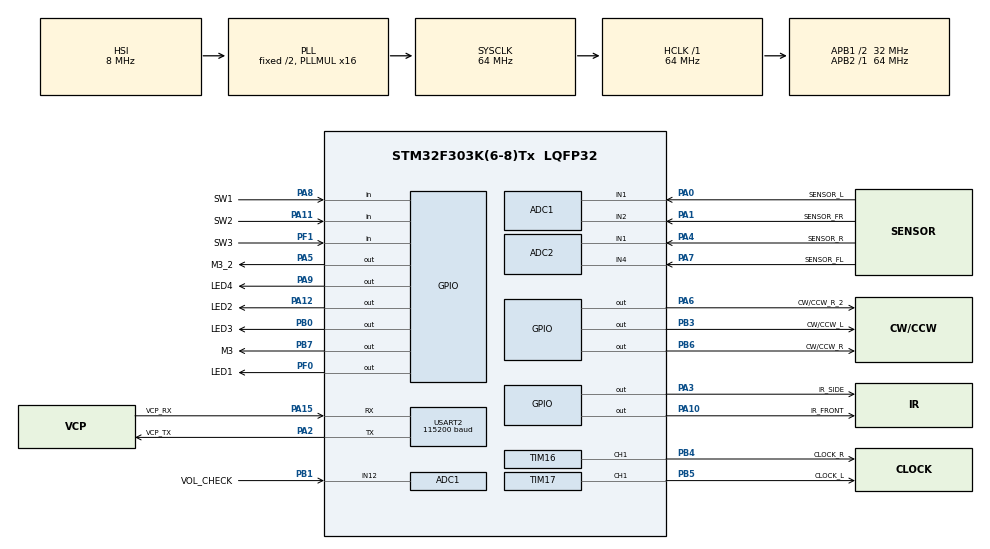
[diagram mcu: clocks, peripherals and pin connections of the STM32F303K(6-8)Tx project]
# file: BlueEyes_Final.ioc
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ADC1.Channel-0\#ChannelRegularConversion=ADC_CHANNEL_1
ADC1.Channel-1\#ChannelRegularConversion=ADC_CHANNEL_2
ADC1.Channel-2\#ChannelRegularConversion=ADC_CHANNEL_1
ADC1.Channel-5\#ChannelRegularConversion=ADC_CHANNEL_2
ADC1.DiscontinuousConvMode=ENABLE
ADC1.EnableInjectedConversion=DISABLE
ADC1.NbrOfConversion=4
ADC1.NbrOfConversionFlag=1
ADC1.Offset-0\#ChannelRegularConversion=0
ADC1.Offset-1\#ChannelRegularConversion=0
ADC1.Offset-2\#ChannelRegularConversion=0
ADC1.Offset-5\#ChannelRegularConversion=0
ADC1.OffsetNumber-0\#ChannelRegularConversion=ADC_OFFSET_NONE
ADC1.OffsetNumber-1\#ChannelRegularConversion=ADC_OFFSET_NONE
ADC1.OffsetNumber-2\#ChannelRegularConversion=ADC_OFFSET_NONE
ADC1.OffsetNumber-5\#ChannelRegularConversion=ADC_OFFSET_NONE
ADC1.Rank-0\#ChannelRegularConversion=1
ADC1.Rank-1\#ChannelRegularConversion=2
ADC1.Rank-2\#ChannelRegularConversion=3
ADC1.Rank-5\#ChannelRegularConversion=4
ADC1.SamplingTime-0\#ChannelRegularConversion=ADC_SAMPLETIME_61CYCLES_5
ADC1.SamplingTime-1\#ChannelRegularConversion=ADC_SAMPLETIME_61CYCLES_5
ADC1.SamplingTime-2\#ChannelRegularConversion=ADC_SAMPLETIME_61CYCLES_5
ADC1.SamplingTime-5\#ChannelRegularConversion=ADC_SAMPLETIME_61CYCLES_5
ADC1.SubFamily=STM32F303x8
ADC1.master=1
ADC2.Channel-0\#ChannelRegularConversion=ADC_CHANNEL_1
ADC2.Channel-1\#ChannelRegularConversion=ADC_CHANNEL_4
ADC2.Channel-2\#ChannelRegularConversion=ADC_CHANNEL_1
ADC2.Channel-4\#ChannelRegularConversion=ADC_CHANNEL_4
ADC2.DiscontinuousConvMode=ENABLE
ADC2.EnableInjectedConversion=DISABLE
ADC2.NbrOfConversion=4
ADC2.NbrOfConversionFlag=1
ADC2.Offset-0\#ChannelRegularConversion=0
ADC2.Offset-1\#ChannelRegularConversion=0
ADC2.Offset-2\#ChannelRegularConversion=0
ADC2.Offset-4\#ChannelRegularConversion=0
ADC2.OffsetNumber-0\#ChannelRegularConversion=ADC_OFFSET_NONE
ADC2.OffsetNumber-1\#ChannelRegularConversion=ADC_OFFSET_NONE
ADC2.OffsetNumber-2\#ChannelRegularConversion=ADC_OFFSET_NONE
ADC2.OffsetNumber-4\#ChannelRegularConversion=ADC_OFFSET_NONE
ADC2.Rank-0\#ChannelRegularConversion=1
ADC2.Rank-1\#ChannelRegularConversion=2
ADC2.Rank-2\#ChannelRegularConversion=3
ADC2.Rank-4\#ChannelRegularConversion=4
ADC2.SamplingTime-0\#ChannelRegularConversion=ADC_SAMPLETIME_61CYCLES_5
ADC2.SamplingTime-1\#ChannelRegularConversion=ADC_SAMPLETIME_61CYCLES_5
ADC2.SamplingTime-2\#ChannelRegularConversion=ADC_SAMPLETIME_61CYCLES_5
ADC2.SamplingTime-4\#ChannelRegularConversion=ADC_SAMPLETIME_61CYCLES_5
ADC2.SubFamily=STM32F303x8
Mcu.Family=STM32F3
Mcu.Name=STM32F303K(6-8)Tx
Mcu.Package=LQFP32
NVIC.PriorityGroup=NVIC_PRIORITYGROUP_4
NVIC.TIM1_TRG_COM_TIM17_IRQn=true\:0\:0\:false\:false\:true\:true\:true\:true
NVIC.TIM1_UP_TIM16_IRQn=true\:0\:0\:false\:false\:true\:true\:true\:true
NVIC.TIM6_DAC1_IRQn=true\:0\:0\:false\:false\:true\:true\:true\:true
PA0.GPIO_Label=SENSOR_L
PA0.Mode=IN1-Single-Ended
PA0.Signal=ADC1_IN1
PA1.GPIO_Label=SENSOR_FR
PA1.Mode=IN2-Single-Ended
PA1.Signal=ADC1_IN2
PA10.GPIO_Label=IR_FRONT
PA10.Signal=GPIO_Output
PA11.GPIO_Label=SW2
PA11.GPIO_PuPd=GPIO_PULLUP
PA11.Signal=GPIO_Input
PA12.GPIO_Label=LED2
PA12.Signal=GPIO_Output
PA13.GPIO_Label=SWDIO
PA13.Mode=Serial_Wire
PA13.Signal=SYS_JTMS-SWDIO
PA14.GPIO_Label=SWCLK
PA14.Mode=Serial_Wire
PA14.Signal=SYS_JTCK-SWCLK
PA15.GPIO_Label=VCP_RX
PA15.Mode=Asynchronous
PA15.Signal=USART2_RX
PA2.GPIO_Label=VCP_TX
PA2.Mode=Asynchronous
PA2.Signal=USART2_TX
PA3.GPIO_Label=IR_SIDE
PA3.Signal=GPIO_Output
PA4.GPIO_Label=SENSOR_R
PA4.Mode=IN1-Single-Ended
PA4.Signal=ADC2_IN1
PA5.GPIO_Label=M3_2
PA5.Signal=GPIO_Output
PA6.GPIO_Label=CW/CCW_R_2
PA6.Signal=GPIO_Output
PA7.GPIO_Label=SENSOR_FL
PA7.Mode=IN4-Single-Ended
PA7.Signal=ADC2_IN4
PA8.GPIO_Label=SW1
PA8.GPIO_PuPd=GPIO_PULLUP
PA8.Signal=GPIO_Input
PA9.GPIO_Label=LED4
PA9.GPIO_PuPd=GPIO_NOPULL
PA9.Signal=GPIO_Output
PB0.GPIO_Label=LED3
PB0.Signal=GPIO_Output
PB1.GPIO_Label=VOL_CHECK
PB1.Mode=IN12-Single-Ended
PB1.Signal=ADC1_IN12
PB3.GPIO_Label=CW/CCW_L
PB3.Signal=GPIO_Output
PB4.GPIO_Label=CLOCK_R
PB4.Signal=S_TIM16_CH1
PB5.GPIO_Label=CLOCK_L
PB5.Signal=S_TIM17_CH1
PB6.GPIO_Label=CW/CCW_R
PB6.Signal=GPIO_Output
PB7.GPIO_Label=M3
PB7.GPIO_PuPd=GPIO_NOPULL
PB7.Signal=GPIO_Output
PF0\ /\ OSC_IN.GPIO_Label=LED1
PF0\ /\ OSC_IN.Signal=GPIO_Output
PF1\ /\ OSC_OUT.GPIO_Label=SW3
PF1\ /\ OSC_OUT.GPIO_PuPd=GPIO_PULLUP
PF1\ /\ OSC_OUT.Signal=GPIO_Input
ProjectManager.HeapSize=0x200
ProjectManager.StackSize=0x400
ProjectManager.TargetToolchain=STM32CubeIDE
RCC.AHBFreq_Value=64000000
RCC.APB1CLKDivider=RCC_HCLK_DIV2
RCC.APB1Freq_Value=32000000
RCC.APB1TimFreq_Value=64000000
RCC.APB2Freq_Value=64000000
RCC.APB2TimFreq_Value=64000000
RCC.CortexFreq_Value=64000000
RCC.HCLKFreq_Value=64000000
RCC.HSE_VALUE=8000000
RCC.HSI_VALUE=8000000
RCC.PLLMUL=RCC_PLL_MUL16
RCC.SYSCLKFreq_VALUE=64000000
RCC.SYSCLKSourceVirtual=RCC_SYSCLKSOURCE_PLLCLK
SH.S_TIM16_CH1.0=TIM16_CH1,PWM Generation1 CH1
SH.S_TIM17_CH1.0=TIM17_CH1,PWM Generation1 CH1
TIM16.Channel=TIM_CHANNEL_1
TIM16.Period=0
TIM16.Prescaler=64-1
TIM16.Pulse=25
TIM17.Channel=TIM_CHANNEL_1
TIM17.Period=0
TIM17.Prescaler=64-1
TIM17.Pulse=25
TIM6.Period=1000-1
TIM6.Prescaler=64-1
USART2.BaudRate=115200
USART2.VirtualMode-Asynchronous=VM_ASYNC
VP_TIM16_VS_ClockSourceINT.Mode=Enable_Timer
VP_TIM17_VS_ClockSourceINT.Mode=Enable_Timer
VP_TIM6_VS_ClockSourceINT.Mode=Enable_Timer
board=NUCLEO-F303K8

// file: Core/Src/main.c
/* USER CODE BEGIN Header */
/**
 ******************************************************************************
 * @file           : main.c
 * @brief          : Main program body
 ******************************************************************************
 * @attention
 *
 * Copyright (c) 2026 STMicroelectronics.
 * All rights reserved.
 *
 * This software is licensed under terms that can be found in the LICENSE file
 * in the root directory of this software component.
 * If no LICENSE file comes with this software, it is provided AS-IS.
 *
 ******************************************************************************
 */
/* USER CODE END Header */
#include "main.h"

/* USER CODE BEGIN Includes */
#include "global.h"
/* USER CODE END Includes */

ADC_HandleTypeDef hadc1;
ADC_HandleTypeDef hadc2;

TIM_HandleTypeDef htim6;
TIM_HandleTypeDef htim16;
TIM_HandleTypeDef htim17;

UART_HandleTypeDef huart2;

void SystemClock_Config(void);
static void MX_GPIO_Init(void);
static void MX_ADC1_Init(void);
static void MX_ADC2_Init(void);
static void MX_TIM6_Init(void);
static void MX_TIM16_Init(void);
static void MX_TIM17_Init(void);
static void MX_USART2_UART_Init(void);

int main(void) {

  /* MCU Configuration--------------------------------------------------------*/

  /* Reset of all peripherals, Initializes the Flash interface and the Systick.
   */
  HAL_Init();

  /* Configure the system clock */
  SystemClock_Config();

  /* Initialize all configured peripherals */
  MX_GPIO_Init();
  MX_ADC1_Init();
  MX_ADC2_Init();
  MX_TIM6_Init();
  MX_TIM16_Init();
  MX_TIM17_Init();
  MX_USART2_UART_Init();
  /* USER CODE BEGIN 2 */
  setbuf(stdout, NULL);

  motor_init();
  HAL_ADCEx_Calibration_Start(&hadc1, ADC_SINGLE_ENDED);
  HAL_ADCEx_Calibration_Start(&hadc2, ADC_SINGLE_ENDED);
  sensor_init();
  search_init();
  pq_init();

  printf("Hello World\n");

  int8_t mode = 0;

  /* USER CODE END 2 */

  /* Infinite loop */
  /* USER CODE BEGIN WHILE */
  while (1) {
    mode = execute_mode(mode);
    /* USER CODE END WHILE */

  }
}

void SystemClock_Config(void) {
  RCC_OscInitTypeDef RCC_OscInitStruct = {0};
  RCC_ClkInitTypeDef RCC_ClkInitStruct = {0};
  RCC_PeriphCLKInitTypeDef PeriphClkInit = {0};

  /** Initializes the RCC Oscillators according to the specified parameters
   * in the RCC_OscInitTypeDef structure.
   */
  RCC_OscInitStruct.OscillatorType = RCC_OSCILLATORTYPE_HSI;
  RCC_OscInitStruct.HSIState = RCC_HSI_ON;
  RCC_OscInitStruct.HSICalibrationValue = RCC_HSICALIBRATION_DEFAULT;
  RCC_OscInitStruct.PLL.PLLState = RCC_PLL_ON;
  RCC_OscInitStruct.PLL.PLLSource = RCC_PLLSOURCE_HSI;
  RCC_OscInitStruct.PLL.PLLMUL = RCC_PLL_MUL16;
  if (HAL_RCC_OscConfig(&RCC_OscInitStruct) != HAL_OK) {
    Error_Handler();
  }

  /** Initializes the CPU, AHB and APB buses clocks
   */
  RCC_ClkInitStruct.ClockType = RCC_CLOCKTYPE_HCLK | RCC_CLOCKTYPE_SYSCLK |
                                RCC_CLOCKTYPE_PCLK1 | RCC_CLOCKTYPE_PCLK2;
  RCC_ClkInitStruct.SYSCLKSource = RCC_SYSCLKSOURCE_PLLCLK;
  RCC_ClkInitStruct.AHBCLKDivider = RCC_SYSCLK_DIV1;
  RCC_ClkInitStruct.APB1CLKDivider = RCC_HCLK_DIV2;
  RCC_ClkInitStruct.APB2CLKDivider = RCC_HCLK_DIV1;

  if (HAL_RCC_ClockConfig(&RCC_ClkInitStruct, FLASH_LATENCY_2) != HAL_OK) {
    Error_Handler();
  }
  PeriphClkInit.PeriphClockSelection = RCC_PERIPHCLK_ADC12;
  PeriphClkInit.Adc12ClockSelection = RCC_ADC12PLLCLK_DIV1;
  if (HAL_RCCEx_PeriphCLKConfig(&PeriphClkInit) != HAL_OK) {
    Error_Handler();
  }
}

static void MX_ADC1_Init(void) {

  ADC_MultiModeTypeDef multimode = {0};
  ADC_ChannelConfTypeDef sConfig = {0};

  /** Common config
   */
  hadc1.Instance = ADC1;
  hadc1.Init.ClockPrescaler = ADC_CLOCK_ASYNC_DIV1;
  hadc1.Init.Resolution = ADC_RESOLUTION_12B;
  hadc1.Init.ScanConvMode = ADC_SCAN_ENABLE;
  hadc1.Init.ContinuousConvMode = DISABLE;
  hadc1.Init.DiscontinuousConvMode = ENABLE;
  hadc1.Init.NbrOfDiscConversion = 1;
  hadc1.Init.ExternalTrigConvEdge = ADC_EXTERNALTRIGCONVEDGE_NONE;
  hadc1.Init.ExternalTrigConv = ADC_SOFTWARE_START;
  hadc1.Init.DataAlign = ADC_DATAALIGN_RIGHT;
  hadc1.Init.NbrOfConversion = 4;
  hadc1.Init.DMAContinuousRequests = DISABLE;
  hadc1.Init.EOCSelection = ADC_EOC_SINGLE_CONV;
  hadc1.Init.LowPowerAutoWait = DISABLE;
  hadc1.Init.Overrun = ADC_OVR_DATA_OVERWRITTEN;
  if (HAL_ADC_Init(&hadc1) != HAL_OK) {
    Error_Handler();
  }

  /** Configure the ADC multi-mode
   */
  multimode.Mode = ADC_MODE_INDEPENDENT;
  if (HAL_ADCEx_MultiModeConfigChannel(&hadc1, &multimode) != HAL_OK) {
    Error_Handler();
  }

  /** Configure Regular Channel
   */
  sConfig.Channel = ADC_CHANNEL_1;
  sConfig.Rank = ADC_REGULAR_RANK_1;
  sConfig.SingleDiff = ADC_SINGLE_ENDED;
  sConfig.SamplingTime = ADC_SAMPLETIME_61CYCLES_5;
  sConfig.OffsetNumber = ADC_OFFSET_NONE;
  sConfig.Offset = 0;
  if (HAL_ADC_ConfigChannel(&hadc1, &sConfig) != HAL_OK) {
    Error_Handler();
  }

  /** Configure Regular Channel
   */
  sConfig.Channel = ADC_CHANNEL_2;
  sConfig.Rank = ADC_REGULAR_RANK_2;
  if (HAL_ADC_ConfigChannel(&hadc1, &sConfig) != HAL_OK) {
    Error_Handler();
  }

  /** Configure Regular Channel
   */
  sConfig.Channel = ADC_CHANNEL_1;
  sConfig.Rank = ADC_REGULAR_RANK_3;
  if (HAL_ADC_ConfigChannel(&hadc1, &sConfig) != HAL_OK) {
    Error_Handler();
  }

  /** Configure Regular Channel
   */
  sConfig.Channel = ADC_CHANNEL_2;
  sConfig.Rank = ADC_REGULAR_RANK_4;
  if (HAL_ADC_ConfigChannel(&hadc1, &sConfig) != HAL_OK) {
    Error_Handler();
  }
}

static void MX_ADC2_Init(void) {

  ADC_ChannelConfTypeDef sConfig = {0};

  /** Common config
   */
  hadc2.Instance = ADC2;
  hadc2.Init.ClockPrescaler = ADC_CLOCK_ASYNC_DIV1;
  hadc2.Init.Resolution = ADC_RESOLUTION_12B;
  hadc2.Init.ScanConvMode = ADC_SCAN_ENABLE;
  hadc2.Init.ContinuousConvMode = DISABLE;
  hadc2.Init.DiscontinuousConvMode = ENABLE;
  hadc2.Init.NbrOfDiscConversion = 1;
  hadc2.Init.ExternalTrigConvEdge = ADC_EXTERNALTRIGCONVEDGE_NONE;
  hadc2.Init.ExternalTrigConv = ADC_SOFTWARE_START;
  hadc2.Init.DataAlign = ADC_DATAALIGN_RIGHT;
  hadc2.Init.NbrOfConversion = 4;
  hadc2.Init.DMAContinuousRequests = DISABLE;
  hadc2.Init.EOCSelection = ADC_EOC_SINGLE_CONV;
  hadc2.Init.LowPowerAutoWait = DISABLE;
  hadc2.Init.Overrun = ADC_OVR_DATA_OVERWRITTEN;
  if (HAL_ADC_Init(&hadc2) != HAL_OK) {
    Error_Handler();
  }

  /** Configure Regular Channel
   */
  sConfig.Channel = ADC_CHANNEL_1;
  sConfig.Rank = ADC_REGULAR_RANK_1;
  sConfig.SingleDiff = ADC_SINGLE_ENDED;
  sConfig.SamplingTime = ADC_SAMPLETIME_61CYCLES_5;
  sConfig.OffsetNumber = ADC_OFFSET_NONE;
  sConfig.Offset = 0;
  if (HAL_ADC_ConfigChannel(&hadc2, &sConfig) != HAL_OK) {
    Error_Handler();
  }

  /** Configure Regular Channel
   */
  sConfig.Channel = ADC_CHANNEL_4;
  sConfig.Rank = ADC_REGULAR_RANK_2;
  if (HAL_ADC_ConfigChannel(&hadc2, &sConfig) != HAL_OK) {
    Error_Handler();
  }

  /** Configure Regular Channel
   */
  sConfig.Channel = ADC_CHANNEL_1;
  sConfig.Rank = ADC_REGULAR_RANK_3;
  if (HAL_ADC_ConfigChannel(&hadc2, &sConfig) != HAL_OK) {
    Error_Handler();
  }

  /** Configure Regular Channel
   */
  sConfig.Channel = ADC_CHANNEL_4;
  sConfig.Rank = ADC_REGULAR_RANK_4;
  if (HAL_ADC_ConfigChannel(&hadc2, &sConfig) != HAL_OK) {
    Error_Handler();
  }
}

static void MX_TIM6_Init(void) {

  TIM_MasterConfigTypeDef sMasterConfig = {0};

  htim6.Instance = TIM6;
  htim6.Init.Prescaler = 64 - 1;
  htim6.Init.CounterMode = TIM_COUNTERMODE_UP;
  htim6.Init.Period = 1000 - 1;
  htim6.Init.AutoReloadPreload = TIM_AUTORELOAD_PRELOAD_DISABLE;
  if (HAL_TIM_Base_Init(&htim6) != HAL_OK) {
    Error_Handler();
  }
  sMasterConfig.MasterOutputTrigger = TIM_TRGO_RESET;
  sMasterConfig.MasterSlaveMode = TIM_MASTERSLAVEMODE_DISABLE;
  if (HAL_TIMEx_MasterConfigSynchronization(&htim6, &sMasterConfig) != HAL_OK) {
    Error_Handler();
  }
}

static void MX_TIM16_Init(void) {

  TIM_OC_InitTypeDef sConfigOC = {0};
  TIM_BreakDeadTimeConfigTypeDef sBreakDeadTimeConfig = {0};

  htim16.Instance = TIM16;
  htim16.Init.Prescaler = 64 - 1;
  htim16.Init.CounterMode = TIM_COUNTERMODE_UP;
  htim16.Init.Period = 0;
  htim16.Init.ClockDivision = TIM_CLOCKDIVISION_DIV1;
  htim16.Init.RepetitionCounter = 0;
  htim16.Init.AutoReloadPreload = TIM_AUTORELOAD_PRELOAD_DISABLE;
  if (HAL_TIM_Base_Init(&htim16) != HAL_OK) {
    Error_Handler();
  }
  if (HAL_TIM_PWM_Init(&htim16) != HAL_OK) {
    Error_Handler();
  }
  sConfigOC.OCMode = TIM_OCMODE_PWM1;
  sConfigOC.Pulse = 25;
  sConfigOC.OCPolarity = TIM_OCPOLARITY_HIGH;
  sConfigOC.OCNPolarity = TIM_OCNPOLARITY_HIGH;
  sConfigOC.OCFastMode = TIM_OCFAST_DISABLE;
  sConfigOC.OCIdleState = TIM_OCIDLESTATE_RESET;
  sConfigOC.OCNIdleState = TIM_OCNIDLESTATE_RESET;
  if (HAL_TIM_PWM_ConfigChannel(&htim16, &sConfigOC, TIM_CHANNEL_1) != HAL_OK) {
    Error_Handler();
  }
  sBreakDeadTimeConfig.OffStateRunMode = TIM_OSSR_DISABLE;
  sBreakDeadTimeConfig.OffStateIDLEMode = TIM_OSSI_DISABLE;
  sBreakDeadTimeConfig.LockLevel = TIM_LOCKLEVEL_OFF;
  sBreakDeadTimeConfig.DeadTime = 0;
  sBreakDeadTimeConfig.BreakState = TIM_BREAK_DISABLE;
  sBreakDeadTimeConfig.BreakPolarity = TIM_BREAKPOLARITY_HIGH;
  sBreakDeadTimeConfig.BreakFilter = 0;
  sBreakDeadTimeConfig.AutomaticOutput = TIM_AUTOMATICOUTPUT_DISABLE;
  if (HAL_TIMEx_ConfigBreakDeadTime(&htim16, &sBreakDeadTimeConfig) != HAL_OK) {
    Error_Handler();
  }
  HAL_TIM_MspPostInit(&htim16);
}

static void MX_TIM17_Init(void) {

  TIM_OC_InitTypeDef sConfigOC = {0};
  TIM_BreakDeadTimeConfigTypeDef sBreakDeadTimeConfig = {0};

  htim17.Instance = TIM17;
  htim17.Init.Prescaler = 64 - 1;
  htim17.Init.CounterMode = TIM_COUNTERMODE_UP;
  htim17.Init.Period = 0;
  htim17.Init.ClockDivision = TIM_CLOCKDIVISION_DIV1;
  htim17.Init.RepetitionCounter = 0;
  htim17.Init.AutoReloadPreload = TIM_AUTORELOAD_PRELOAD_DISABLE;
  if (HAL_TIM_Base_Init(&htim17) != HAL_OK) {
    Error_Handler();
  }
  if (HAL_TIM_PWM_Init(&htim17) != HAL_OK) {
    Error_Handler();
  }
  sConfigOC.OCMode = TIM_OCMODE_PWM1;
  sConfigOC.Pulse = 25;
  sConfigOC.OCPolarity = TIM_OCPOLARITY_HIGH;
  sConfigOC.OCNPolarity = TIM_OCNPOLARITY_HIGH;
  sConfigOC.OCFastMode = TIM_OCFAST_DISABLE;
  sConfigOC.OCIdleState = TIM_OCIDLESTATE_RESET;
  sConfigOC.OCNIdleState = TIM_OCNIDLESTATE_RESET;
  if (HAL_TIM_PWM_ConfigChannel(&htim17, &sConfigOC, TIM_CHANNEL_1) != HAL_OK) {
    Error_Handler();
  }
  sBreakDeadTimeConfig.OffStateRunMode = TIM_OSSR_DISABLE;
  sBreakDeadTimeConfig.OffStateIDLEMode = TIM_OSSI_DISABLE;
  sBreakDeadTimeConfig.LockLevel = TIM_LOCKLEVEL_OFF;
  sBreakDeadTimeConfig.DeadTime = 0;
  sBreakDeadTimeConfig.BreakState = TIM_BREAK_DISABLE;
  sBreakDeadTimeConfig.BreakPolarity = TIM_BREAKPOLARITY_HIGH;
  sBreakDeadTimeConfig.BreakFilter = 0;
  sBreakDeadTimeConfig.AutomaticOutput = TIM_AUTOMATICOUTPUT_DISABLE;
  if (HAL_TIMEx_ConfigBreakDeadTime(&htim17, &sBreakDeadTimeConfig) != HAL_OK) {
    Error_Handler();
  }
  HAL_TIM_MspPostInit(&htim17);
}

static void MX_USART2_UART_Init(void) {

  huart2.Instance = USART2;
  huart2.Init.BaudRate = 115200;
  huart2.Init.WordLength = UART_WORDLENGTH_8B;
  huart2.Init.StopBits = UART_STOPBITS_1;
  huart2.Init.Parity = UART_PARITY_NONE;
  huart2.Init.Mode = UART_MODE_TX_RX;
  huart2.Init.HwFlowCtl = UART_HWCONTROL_NONE;
  huart2.Init.OverSampling = UART_OVERSAMPLING_16;
  huart2.Init.OneBitSampling = UART_ONE_BIT_SAMPLE_DISABLE;
  huart2.AdvancedInit.AdvFeatureInit = UART_ADVFEATURE_NO_INIT;
  if (HAL_UART_Init(&huart2) != HAL_OK) {
    Error_Handler();
  }
}

static void MX_GPIO_Init(void) {
  GPIO_InitTypeDef GPIO_InitStruct = {0};

  /* GPIO Ports Clock Enable */
  __HAL_RCC_GPIOF_CLK_ENABLE();
  __HAL_RCC_GPIOA_CLK_ENABLE();
  __HAL_RCC_GPIOB_CLK_ENABLE();

  /*Configure GPIO pin Output Level */
  HAL_GPIO_WritePin(LED1_GPIO_Port, LED1_Pin, GPIO_PIN_RESET);

  /*Configure GPIO pin Output Level */
  HAL_GPIO_WritePin(GPIOA,
                    IR_SIDE_Pin | M3_2_Pin | CW_CCW_R_2_Pin | LED4_Pin |
                        IR_FRONT_Pin | LED2_Pin,
                    GPIO_PIN_RESET);

  /*Configure GPIO pin Output Level */
  HAL_GPIO_WritePin(GPIOB, LED3_Pin | CW_CCW_L_Pin | CW_CCW_R_Pin | M3_Pin,
                    GPIO_PIN_RESET);

  /*Configure GPIO pin : LED1_Pin */
  GPIO_InitStruct.Pin = LED1_Pin;
  GPIO_InitStruct.Mode = GPIO_MODE_OUTPUT_PP;
  GPIO_InitStruct.Pull = GPIO_NOPULL;
  GPIO_InitStruct.Speed = GPIO_SPEED_FREQ_LOW;
  HAL_GPIO_Init(LED1_GPIO_Port, &GPIO_InitStruct);

  /*Configure GPIO pin : SW3_Pin */
  GPIO_InitStruct.Pin = SW3_Pin;
  GPIO_InitStruct.Mode = GPIO_MODE_INPUT;
  GPIO_InitStruct.Pull = GPIO_PULLUP;
  HAL_GPIO_Init(SW3_GPIO_Port, &GPIO_InitStruct);

  /*Configure GPIO pins : IR_SIDE_Pin M3_2_Pin CW_CCW_R_2_Pin LED4_Pin
                           IR_FRONT_Pin LED2_Pin */
  GPIO_InitStruct.Pin = IR_SIDE_Pin | M3_2_Pin | CW_CCW_R_2_Pin | LED4_Pin |
                        IR_FRONT_Pin | LED2_Pin;
  GPIO_InitStruct.Mode = GPIO_MODE_OUTPUT_PP;
  GPIO_InitStruct.Pull = GPIO_NOPULL;
  GPIO_InitStruct.Speed = GPIO_SPEED_FREQ_LOW;
  HAL_GPIO_Init(GPIOA, &GPIO_InitStruct);

  /*Configure GPIO pins : LED3_Pin CW_CCW_L_Pin CW_CCW_R_Pin M3_Pin */
  GPIO_InitStruct.Pin = LED3_Pin | CW_CCW_L_Pin | CW_CCW_R_Pin | M3_Pin;
  GPIO_InitStruct.Mode = GPIO_MODE_OUTPUT_PP;
  GPIO_InitStruct.Pull = GPIO_NOPULL;
  GPIO_InitStruct.Speed = GPIO_SPEED_FREQ_LOW;
  HAL_GPIO_Init(GPIOB, &GPIO_InitStruct);

  /*Configure GPIO pins : SW1_Pin SW2_Pin */
  GPIO_InitStruct.Pin = SW1_Pin | SW2_Pin;
  GPIO_InitStruct.Mode = GPIO_MODE_INPUT;
  GPIO_InitStruct.Pull = GPIO_PULLUP;
  HAL_GPIO_Init(GPIOA, &GPIO_InitStruct);

}

/* USER CODE BEGIN 4 */
int __io_putchar(int c) {
  if (c == '\n') {
    int _c = '\r';
    HAL_UART_Transmit(&huart2, &_c, 1, 1);
  }
  HAL_UART_Transmit(&huart2, &c, 1, 1);
  return 0;
}
/* USER CODE END 4 */

void Error_Handler(void) {
  __disable_irq();
  while (1) {
  }
}
#ifdef USE_FULL_ASSERT
/**
 * @brief  Reports the name of the source file and the source line number
 *         where the assert_param error has occurred.
 * @param  file: pointer to the source file name
 * @param  line: assert_param error line source number
 * @retval None
 */
void assert_failed(uint8_t *file, uint32_t line) {
  /* USER CODE BEGIN 6 */
  /* User can add his own implementation to report the file name and line
     number, ex: printf("Wrong parameters value: file %s on line %d\r\n", file,
     line) */
  /* USER CODE END 6 */
}
#endif /* USE_FULL_ASSERT */
